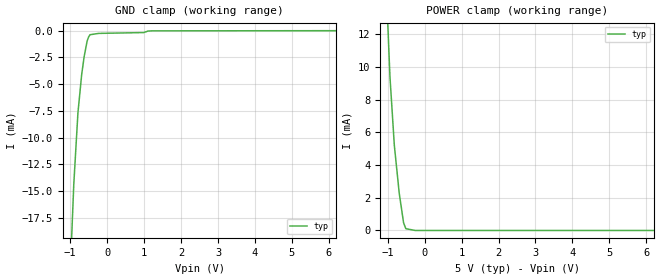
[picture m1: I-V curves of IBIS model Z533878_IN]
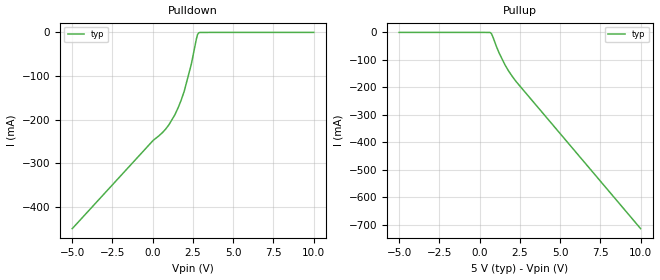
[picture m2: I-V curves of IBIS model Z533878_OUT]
| YOU ARE ONLY AUTHORIZED TO USE THIS SOFTWARE
| ACCORDING TO LICENSOR'S LICENSE RESTRICTIONS.
[IBIS Ver] 3.1
[File Name] mc10elt22d.ibs
[File Rev] 1
[Source] derived from MC100ELT20D Measured data
[Date] 2/18/2004
[Copyright]
| (C) COPYRIGHT 1993-2000
| MENTOR GRAPHICS CORPORATION
| ICX STANDARD LIBRARY, ICX PROJECT MODELING,
| ICX CUSTOM MODELING, ICX VENDOR MODEL
| ALL RIGHTS RESERVED.
| THE FOLLOWING ARE TRADEMARKS OR SERVICE MARKS OF
| MENTOR GRAPHICS CORPORATION:ICX (R), ICX STANDARD
| LIBRARY(R), ICX PROJECT MODELING(R), ICX CUSTOM
| MODELING(R), qualityIBIS(TM), MODELVIEWER(TM),
| AND MODELEDITOR(TM)
| ALL COPIES OF SOFTWARE, INCLUDING BUT NOT LIMITED TO
| ANY MODIFICATIONS, ENHANCEMENTS OR DERIVATIVE WORKS,
| MUST CONTAIN ALL MENTOR GRAPHICS CORPORATION'S
| NOTICES AND LEGENDS, INCLUDING THOSE EMBEDDED IN
| SOFTWARE AND THOSE AFFIXED TO SOFTWARE MEDIUM
| AND CONTAINER, AS RECEIVED FROM MENTOR GRAPHICS
| CORPORATION.
|  ZAP Model Builder 2.7
[Component] MC10ELT22D
[Manufacturer] On Semiconductor
[Package]
| variable   typ   min   max
R_pkg  .152ohms NA NA
L_pkg  2.714nH NA NA
C_pkg  .364pF NA NA
[Pin] signal_name  model_name  R_pin  L_pin C_pin
1 Q0 Z533878_OUT .15 2.504n .354p
2 _Q0 Z533878_OUT .15 2.504n .354p
3 Q1 Z533878_OUT .15 2.504n .354p
4 _Q1 Z533878_OUT .15 2.504n .354p
5 GND GND .154 2.924n .374p
6 D1 Z533878_IN .15 2.504n .354p
7 D0 Z533878_IN .15 2.504n .354p
8 VCC POWER .154 2.924n .374p
| Models and submodels in the file (2): Z533878_IN (Input), Z533878_OUT (Output)
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| (C) COPYRIGHT 1993-2000
| MENTOR GRAPHICS CORPORATION
| ICX STANDARD LIBRARY, ICX PROJECT MODELING,
| ICX CUSTOM MODELING, ICX VENDOR MODEL
| ALL RIGHTS RESERVED.
| THE FOLLOWING ARE TRADEMARKS OR SERVICE MARKS OF
| MENTOR GRAPHICS CORPORATION:ICX (R), ICX STANDARD
| LIBRARY(R), ICX PROJECT MODELING(R), ICX CUSTOM
| MODELING(R), qualityIBIS(TM), MODELVIEWER(TM),
| AND MODELEDITOR(TM)
| ALL COPIES OF SOFTWARE, INCLUDING BUT NOT LIMITED TO
| ANY MODIFICATIONS, ENHANCEMENTS OR DERIVATIVE WORKS,
| MUST CONTAIN ALL MENTOR GRAPHICS CORPORATION'S
| NOTICES AND LEGENDS, INCLUDING THOSE EMBEDDED IN
| SOFTWARE AND THOSE AFFIXED TO SOFTWARE MEDIUM
| AND CONTAINER, AS RECEIVED FROM MENTOR GRAPHICS
| CORPORATION.
| Model Application Version 1.89 2/18/99.
[Model] Z533878_IN
Model_type Input
Vinl = 800.0mV
Vinh = 2.000V
C_comp 2.000pF NA NA
| variable typ   min   max
[Voltage Range] 5.000V NA NA
[GND Clamp Reference] 0.000V NA NA
[POWER Clamp Reference] 5.000V NA NA
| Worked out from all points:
|   GND clamp passes 1 mA (typ) near -0.54 V on its own axis
|   POWER clamp passes 1 mA (typ) near -0.60 V on its own axis
[GND Clamp]
-5V       -367.1mA   NA         NA
-902.2mV  -14.37mA   NA         NA
-790.2mV  -7.689mA   NA         NA
-688.6mV  -4.099mA   NA         NA
-622.9mV  -2.45mA    NA         NA
-541.8mV  -976.5uA   NA         NA
-502.2mV  -592.4uA   NA         NA
-463.9mV  -374.8uA   NA         NA
-231.9mV  -250.8uA   NA         NA
989.8mV   -172.9uA   NA         NA
1.207V    -11.63uA   NA         NA
10V       13.49uA    NA         NA
[POWER Clamp]
-5V       339mA      NA         NA
-1.054V   15.76mA    NA         NA
-938mV    9.414mA    NA         NA
-820mV    5.22mA     NA         NA
-688mV    2.297mA    NA         NA
-570mV    477.5uA    NA         NA
-509mV    110.8uA    NA         NA
-254.5mV  0A         NA         NA
10V       0A         NA         NA
| (C) COPYRIGHT 1993-2000
| MENTOR GRAPHICS CORPORATION
| ICX STANDARD LIBRARY, ICX PROJECT MODELING,
| ICX CUSTOM MODELING, ICX VENDOR MODEL
| ALL RIGHTS RESERVED.
| THE FOLLOWING ARE TRADEMARKS OR SERVICE MARKS OF
| MENTOR GRAPHICS CORPORATION:ICX (R), ICX STANDARD
| LIBRARY(R), ICX PROJECT MODELING(R), ICX CUSTOM
| MODELING(R), qualityIBIS(TM), MODELVIEWER(TM),
| AND MODELEDITOR(TM)
| ALL COPIES OF SOFTWARE, INCLUDING BUT NOT LIMITED TO
| ANY MODIFICATIONS, ENHANCEMENTS OR DERIVATIVE WORKS,
| MUST CONTAIN ALL MENTOR GRAPHICS CORPORATION'S
| NOTICES AND LEGENDS, INCLUDING THOSE EMBEDDED IN
| SOFTWARE AND THOSE AFFIXED TO SOFTWARE MEDIUM
| AND CONTAINER, AS RECEIVED FROM MENTOR GRAPHICS
| CORPORATION.
| Model Application Version 1.89 2/18/99.
[Model] Z533878_OUT
Model_type Output
Vref=3.00V
Rref=50.00ohms
Cref=0.000F
Vmeas=3.655V
C_comp 2.000pF NA NA
| variable typ   min   max
[Voltage Range] 5.000V NA NA
[POWER Clamp Reference] 5.000V NA NA
[Pullup Reference] 5.000V NA NA
[Pulldown Reference] 0.000V NA NA
[GND Clamp Reference] 0.000V NA NA
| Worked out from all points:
|   slope of the pulldown table from 0 to 0.75 V, typ, clamps not added: 30.2 ohm
|   slope of the pullup table from 0 to 0.75 V, typ, clamps not added: 115 ohm
[GND Clamp]
-5V       0A         NA         NA
10V       0A         NA         NA
[Pulldown]
-5V       -449.4mA   NA         NA
35.82mV   -246.9mA   NA         NA
615.1mV   -229mA     NA         NA
996.1mV   -212mA     NA         NA
1.371V    -188.9mA   NA         NA
1.591V    -171.3mA   NA         NA
1.952V    -135.2mA   NA         NA
2.401V    -72.1mA    NA         NA
2.716V    -14.26mA   NA         NA
2.783V    -4.9mA     NA         NA
2.862V    -736.9uA   NA         NA
10V       75.52uA    NA         NA
[Pullup]
-5V       149uA      NA         NA
586mV     -36.23uA   NA         NA
703mV     -2.294mA   NA         NA
809mV     -13.86mA   NA         NA
1.218V    -75.67mA   NA         NA
1.573V    -117.7mA   NA         NA
1.788V    -139.2mA   NA         NA
2.285V    -180.1mA   NA         NA
10V       -714.5mA   NA         NA
[POWER Clamp]
-5V       0A         NA         NA
10V       0A         NA         NA
[Ramp]
| variable typ min max
dV/dt_r 873.0m/913.6p NA NA
dV/dt_f 873.0m/788.1p NA NA
R_load = 50.0Ohms
